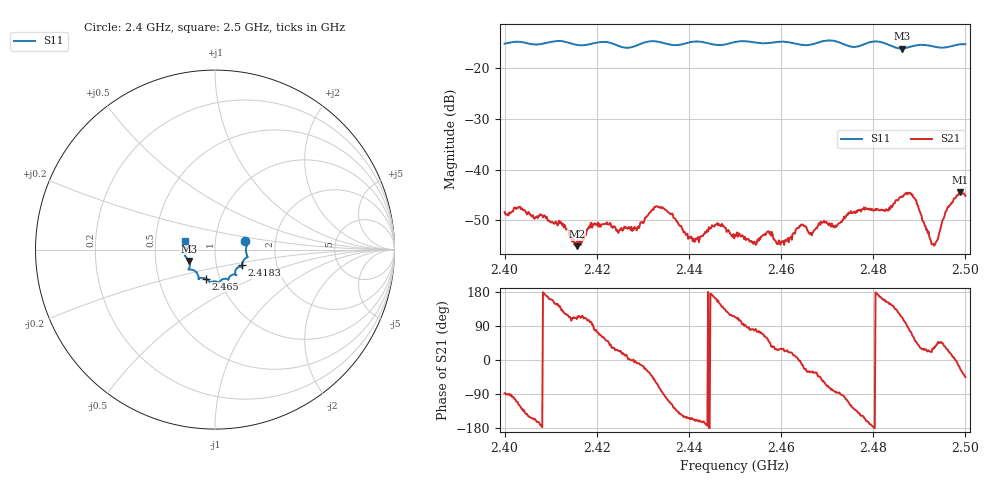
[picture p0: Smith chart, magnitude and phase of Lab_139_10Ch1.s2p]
# Hz S RI R 50
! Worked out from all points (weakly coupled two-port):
!   601 points, 2.4 GHz to 2.5 GHz, reference 50 ohm
!   highest |S21| = -44.52 dB at 2.4988 GHz (marker M1); lowest = -55.2 dB at 2.4157 GHz (marker M2)
!   lowest |S11| = -16.1 dB at 2.4862 GHz (marker M3), VSWR 1.37, Z = 37.1 - j4.8 ohm
!   |S11| at or under -10 dB: start of sweep to end of sweep
!   S12 and S22 are empty: the file has one direction only
!   S11 on the Smith chart (normalised r, x): 2.4 GHz: 1.40, +0.13; 2.4183 GHz: 1.33, -0.24; 2.465 GHz: 0.86, -0.29; 2.5 GHz: 0.71, +0.07
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2.4e9  0.1695 0.0462  0.000154 -0.00379  0 0  0 0
2.412167e9  0.1816 -0.0417  -0.00221 0.00209  0 0  0 0
2.415667e9  0.1608 -0.0574  -0.000539 0.00166  0 0  0 0
2.416667e9  0.1548 -0.068  -0.000768 0.00171  0 0  0 0
2.418333e9  0.1497 -0.0872  -0.000716 0.00265  0 0  0 0
2.428167e9  0.1128 -0.1208  0.0027 -0.000297  0 0  0 0
2.433333e9  0.1174 -0.1408  0.00164 -0.00391  0 0  0 0
2.440833e9  0.0754 -0.1676  -0.00178 -0.000797  0 0  0 0
2.446167e9  0.0517 -0.1627  -0.00265 0.0013  0 0  0 0
2.45e9  0.0252 -0.1808  -0.00088 0.00207  0 0  0 0
2.4575e9  -0.014 -0.1779  0.00159 0.00169  0 0  0 0
2.460167e9  -0.0281 -0.182  0.0017 0.000939  0 0  0 0
2.465e9  -0.0524 -0.1617  0.00252 -0.00108  0 0  0 0
2.466667e9  -0.0713 -0.1573  0.00192 -0.00115  0 0  0 0
2.475167e9  -0.1025 -0.1283  -0.00191 -0.00338  0 0  0 0
2.483333e9  -0.1415 -0.0965  -0.00346 0.00187  0 0  0 0
2.486167e9  -0.1441 -0.0631  -0.00215 0.00489  0 0  0 0
2.488833e9  -0.162 -0.0416  0.00274 0.00453  0 0  0 0
2.493167e9  -0.1635 -0.0184  0.00147 0.000975  0 0  0 0
2.496167e9  -0.1616 0.0186  0.00378 0.00195  0 0  0 0
2.498833e9  -0.1683 0.0415  0.00548 -0.0023  0 0  0 0
2.5e9  -0.1671 0.0469  0.00387 -0.00389  0 0  0 0
